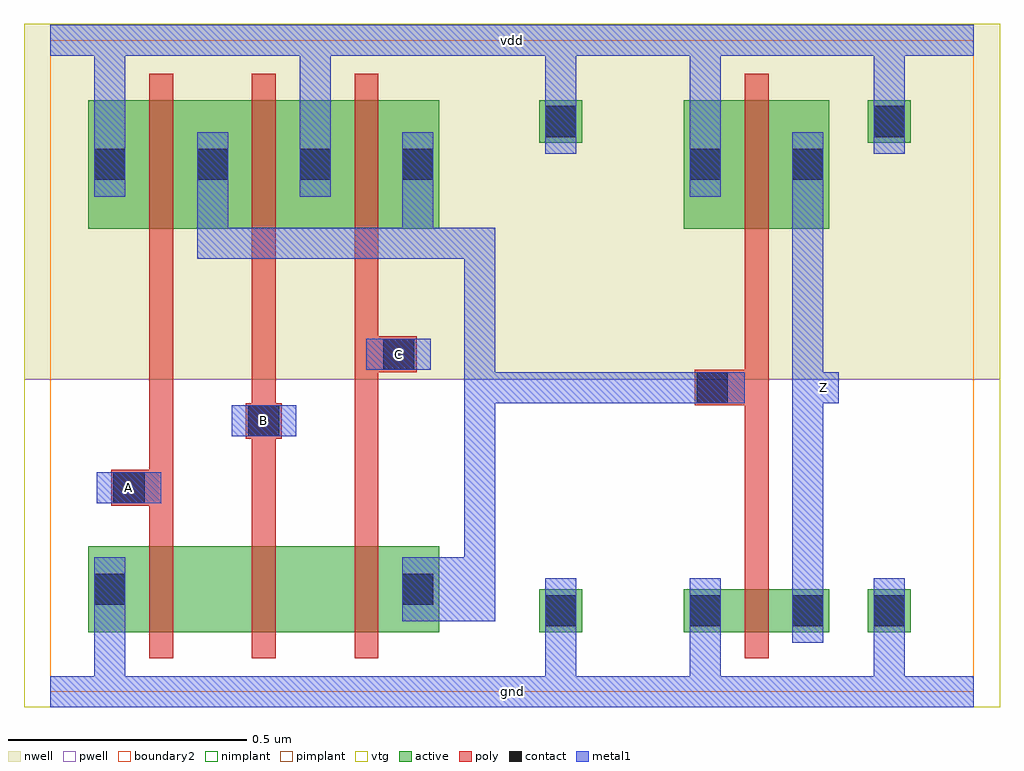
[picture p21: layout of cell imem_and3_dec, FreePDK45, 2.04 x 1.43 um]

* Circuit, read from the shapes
.subckt imem_and3_dec A B C Z gnd vdd
M1 imem_pnand3_0/imem_nmos_m1_w0_180_sm1_dactive_3/D A gnd gnd nfet w=0.18u l=0.05u
M2 imem_pnand3_0/imem_nmos_m1_w0_180_sactive_dactive_4/D B imem_pnand3_0/imem_nmos_m1_w0_180_sm1_dactive_3/D gnd nfet w=0.18u l=0.05u
M3 imem_pinv_1/A C imem_pnand3_0/imem_nmos_m1_w0_180_sactive_dactive_4/D gnd nfet w=0.18u l=0.05u
M4 Z imem_pinv_1/A gnd gnd nfet w=0.09u l=0.05u
M5 imem_pinv_1/A A vdd vdd pfet w=0.27u l=0.05u
M6 vdd B imem_pinv_1/A vdd pfet w=0.27u l=0.05u
M7 imem_pinv_1/A C vdd vdd pfet w=0.27u l=0.05u
M8 Z imem_pinv_1/A vdd vdd pfet w=0.27u l=0.05u
.ends

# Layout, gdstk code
import gdstk
lib = gdstk.Library(unit=1e-6, precision=5e-10)
def R(c, l, rs):  # rectangles x0, y0, x1, y1
    for r in rs: c.add(gdstk.rectangle(r[:2], r[2:], *l))
def A(c, l, x, y, w, h, nx, ny, dx, dy):  # array of equal rectangles
    R(c, l, [(x+i*dx, y+j*dy, x+i*dx+w, y+j*dy+h) for i in range(nx) for j in range(ny)])
active = (1, 0)
pwell = (2, 0)
nwell = (3, 0)
nimplant = (4, 0)
pimplant = (5, 0)
vtg = (6, 0)
poly = (9, 0)
contact = (10, 0)
metal1 = (11, 0)
boundary2 = (239, 0)

imem_contact_11 = lib.new_cell('imem_contact_11')
R(imem_contact_11, active, [(0,0.0225,0.09,0.1125)])
R(imem_contact_11, nwell, [(-0.055,-0.0325,0.145,0.1675)])
R(imem_contact_11, pimplant, [(0,0.0225,0.09,0.1125)])
R(imem_contact_11, contact, [(0.0125,0.035,0.0775,0.1)])
R(imem_contact_11, metal1, [(0.0125,0,0.0775,0.135)])
R(imem_contact_11, boundary2, [(-0.055,-0.0325,0.145,0.1675)])

imem_pmos_m1_w0_270_sm1_ = lib.new_cell('imem_pmos_m1_w0_270_sm1_dm1')
R(imem_pmos_m1_w0_270_sm1_, active, [(0,0,0.305,0.27)])
R(imem_pmos_m1_w0_270_sm1_, nwell, [(-0.08,-0.08,0.385,0.35)])
R(imem_pmos_m1_w0_270_sm1_, pimplant, [(0,0,0.305,0.27)])
R(imem_pmos_m1_w0_270_sm1_, vtg, [(-0.08,-0.08,0.385,0.35)])
R(imem_pmos_m1_w0_270_sm1_, poly, [(0.1275,-0.055,0.1775,0.325), (0.1275,-0.055,0.1775,0.325)])
R(imem_pmos_m1_w0_270_sm1_, metal1, [(0.0125,0.0675,0.0775,0.2025), (0.2275,0.0675,0.2925,0.2025)])
R(imem_pmos_m1_w0_270_sm1_, boundary2, [(-0.08,-0.08,0.385,0.35)])
imem_pmos_m1_w0_270_sm1_.add(gdstk.Reference(imem_contact_11, (0,0.0675)))
imem_pmos_m1_w0_270_sm1_.add(gdstk.Reference(imem_contact_11, (0.215,0.0675)))
imem_pmos_m1_w0_270_sm1_.add(gdstk.Label('G', (0.1525,0.135), layer=9, texttype=0))
imem_pmos_m1_w0_270_sm1_.add(gdstk.Label('S', (0.045,0.135), layer=11, texttype=0))
imem_pmos_m1_w0_270_sm1_.add(gdstk.Label('D', (0.26,0.135), layer=11, texttype=0))

imem_contact_10 = lib.new_cell('imem_contact_10')
R(imem_contact_10, active, [(0,0.0225,0.09,0.1125)])
R(imem_contact_10, pwell, [(-0.055,-0.0325,0.145,0.1675)])
R(imem_contact_10, nimplant, [(0,0.0225,0.09,0.1125)])
R(imem_contact_10, contact, [(0.0125,0.035,0.0775,0.1)])
R(imem_contact_10, metal1, [(0.0125,0,0.0775,0.135)])
R(imem_contact_10, boundary2, [(-0.055,-0.0325,0.145,0.1675)])

imem_nmos_m1_w0_180_sm1_ = lib.new_cell('imem_nmos_m1_w0_180_sm1_dactive')
R(imem_nmos_m1_w0_180_sm1_, active, [(0,0,0.305,0.18), (0.215,0.045,0.305,0.135)])
R(imem_nmos_m1_w0_180_sm1_, pwell, [(-0.08,-0.08,0.385,0.26)])
R(imem_nmos_m1_w0_180_sm1_, nimplant, [(0,0,0.305,0.18)])
R(imem_nmos_m1_w0_180_sm1_, vtg, [(-0.08,-0.08,0.385,0.26)])
R(imem_nmos_m1_w0_180_sm1_, poly, [(0.1275,-0.055,0.1775,0.235), (0.1275,-0.055,0.1775,0.235)])
R(imem_nmos_m1_w0_180_sm1_, metal1, [(0.0125,0.0225,0.0775,0.1575)])
R(imem_nmos_m1_w0_180_sm1_, boundary2, [(-0.08,-0.08,0.385,0.26)])
imem_nmos_m1_w0_180_sm1_.add(gdstk.Reference(imem_contact_10, (0,0.0225)))
imem_nmos_m1_w0_180_sm1_.add(gdstk.Label('G', (0.1525,0.09), layer=9, texttype=0))
imem_nmos_m1_w0_180_sm1_.add(gdstk.Label('S', (0.045,0.09), layer=11, texttype=0))
imem_nmos_m1_w0_180_sm1_.add(gdstk.Label('D', (0.26,0.09), layer=1, texttype=0))

imem_nmos_m1_w0_180_sact = lib.new_cell('imem_nmos_m1_w0_180_sactive_dactive')
R(imem_nmos_m1_w0_180_sact, active, [(0,0,0.305,0.18), (0,0.045,0.09,0.135), (0.215,0.045,0.305,0.135)])
R(imem_nmos_m1_w0_180_sact, pwell, [(-0.08,-0.08,0.385,0.26)])
R(imem_nmos_m1_w0_180_sact, nimplant, [(0,0,0.305,0.18)])
R(imem_nmos_m1_w0_180_sact, vtg, [(-0.08,-0.08,0.385,0.26)])
R(imem_nmos_m1_w0_180_sact, poly, [(0.1275,-0.055,0.1775,0.235), (0.1275,-0.055,0.1775,0.235)])
R(imem_nmos_m1_w0_180_sact, boundary2, [(-0.08,-0.08,0.385,0.26)])
imem_nmos_m1_w0_180_sact.add(gdstk.Label('G', (0.1525,0.09), layer=9, texttype=0))
imem_nmos_m1_w0_180_sact.add(gdstk.Label('S', (0.045,0.09), layer=1, texttype=0))
imem_nmos_m1_w0_180_sact.add(gdstk.Label('D', (0.26,0.09), layer=1, texttype=0))

c_imem_nmos_m1_w0_180_sact = lib.new_cell('imem_nmos_m1_w0_180_sactive_dm1')
R(c_imem_nmos_m1_w0_180_sact, active, [(0,0,0.305,0.18), (0,0.045,0.09,0.135)])
R(c_imem_nmos_m1_w0_180_sact, pwell, [(-0.08,-0.08,0.385,0.26)])
R(c_imem_nmos_m1_w0_180_sact, nimplant, [(0,0,0.305,0.18)])
R(c_imem_nmos_m1_w0_180_sact, vtg, [(-0.08,-0.08,0.385,0.26)])
R(c_imem_nmos_m1_w0_180_sact, poly, [(0.1275,-0.055,0.1775,0.235), (0.1275,-0.055,0.1775,0.235)])
R(c_imem_nmos_m1_w0_180_sact, metal1, [(0.2275,0.0225,0.2925,0.1575)])
R(c_imem_nmos_m1_w0_180_sact, boundary2, [(-0.08,-0.08,0.385,0.26)])
c_imem_nmos_m1_w0_180_sact.add(gdstk.Reference(imem_contact_10, (0.215,0.0225)))
c_imem_nmos_m1_w0_180_sact.add(gdstk.Label('G', (0.1525,0.09), layer=9, texttype=0))
c_imem_nmos_m1_w0_180_sact.add(gdstk.Label('S', (0.045,0.09), layer=1, texttype=0))
c_imem_nmos_m1_w0_180_sact.add(gdstk.Label('D', (0.26,0.09), layer=11, texttype=0))

imem_contact_12 = lib.new_cell('imem_contact_12')
R(imem_contact_12, active, [(0,0.0225,0.09,0.1125)])
R(imem_contact_12, nwell, [(-0.055,-0.0325,0.145,0.1675)])
R(imem_contact_12, nimplant, [(0,0.0225,0.09,0.1125)])
R(imem_contact_12, contact, [(0.0125,0.035,0.0775,0.1)])
R(imem_contact_12, metal1, [(0.0125,0,0.0775,0.135)])
R(imem_contact_12, boundary2, [(-0.055,-0.0325,0.145,0.1675)])

imem_contact_13 = lib.new_cell('imem_contact_13')
R(imem_contact_13, active, [(0,0.0225,0.09,0.1125)])
R(imem_contact_13, pwell, [(-0.055,-0.0325,0.145,0.1675)])
R(imem_contact_13, pimplant, [(0,0.0225,0.09,0.1125)])
R(imem_contact_13, contact, [(0.0125,0.035,0.0775,0.1)])
R(imem_contact_13, metal1, [(0.0125,0,0.0775,0.135)])
R(imem_contact_13, boundary2, [(-0.055,-0.0325,0.145,0.1675)])

imem_contact_14 = lib.new_cell('imem_contact_14')
R(imem_contact_14, poly, [(0.03,0,0.105,0.075)])
R(imem_contact_14, contact, [(0.035,0.005,0.1,0.07)])
R(imem_contact_14, metal1, [(0,0.005,0.135,0.07)])
R(imem_contact_14, boundary2, [(0,0,0.135,0.075)])

imem_pnand3 = lib.new_cell('imem_pnand3')
R(imem_pnand3, pwell, [(-0.055,-0.0325,1.3025,0.655)])
R(imem_pnand3, nwell, [(-0.055,0.655,1.3025,1.4)])
R(imem_pnand3, vtg, [(-0.055,-0.0325,1.3025,0.655), (-0.055,0.655,1.3025,1.4)])
A(imem_pnand3, poly, 0.2075, 0.36, 0.05, 0.555, 3, 1, 0.215, 0)
R(imem_pnand3, poly, [(0.165,0.39,0.2075,0.465), (0.4225,0.53,0.4475,0.605), (0.6375,0.67,0.73,0.745)])
R(imem_pnand3, metal1, [(0,-0.0325,1.2475,0.0325), (0.0925,-0.0325,0.1575,0.1475), (1.0375,0,1.1025,0.17), (0.77,0.1475,0.9,0.2825), (0.8675,0.1475,0.9325,0.94), (0.0975,0.395,0.2325,0.46), (0.38,0.535,0.515,0.6), (0.6625,0.675,0.7975,0.74), (0.3075,0.9075,0.3725,0.9725), (0.34,0.9075,0.9,0.9725), (0.7375,0.9075,0.8025,0.9725), (0.77,0.9075,0.9,0.9725), (0.8675,0.9075,0.9325,0.9725), (0.3075,0.94,0.3725,1.105), (0.7375,0.94,0.8025,1.105), (0.0925,1.0375,0.1575,1.3975), (0.5225,1.0375,0.5875,1.3975), (1.0375,1.195,1.1025,1.365), (0,1.3325,1.2475,1.3975)])
R(imem_pnand3, boundary2, [(0,0,1.2475,1.365), (0,0,1.2475,1.365)])
imem_pnand3.add(gdstk.Reference(imem_pmos_m1_w0_270_sm1_, (0.08,0.97)))
imem_pnand3.add(gdstk.Reference(imem_pmos_m1_w0_270_sm1_, (0.295,0.97)))
imem_pnand3.add(gdstk.Reference(imem_pmos_m1_w0_270_sm1_, (0.51,0.97)))
imem_pnand3.add(gdstk.Reference(imem_nmos_m1_w0_180_sm1_, (0.08,0.125)))
imem_pnand3.add(gdstk.Reference(imem_nmos_m1_w0_180_sact, (0.295,0.125)))
imem_pnand3.add(gdstk.Reference(c_imem_nmos_m1_w0_180_sact, (0.51,0.125)))
imem_pnand3.add(gdstk.Reference(imem_contact_12, (1.025,1.1275)))
imem_pnand3.add(gdstk.Reference(imem_contact_13, (1.025,0.1025)))
imem_pnand3.add(gdstk.Reference(imem_contact_14, (0.0975,0.39)))
imem_pnand3.add(gdstk.Reference(imem_contact_14, (0.38,0.53)))
imem_pnand3.add(gdstk.Reference(imem_contact_14, (0.6625,0.67)))
imem_pnand3.add(gdstk.Label('A', (0.165,0.4275), layer=11, texttype=0))
imem_pnand3.add(gdstk.Label('B', (0.4475,0.5675), layer=11, texttype=0))
imem_pnand3.add(gdstk.Label('C', (0.73,0.7075), layer=11, texttype=0))
imem_pnand3.add(gdstk.Label('Z', (0.9,0.94), layer=11, texttype=0))
imem_pnand3.add(gdstk.Label('gnd', (0.624,0), layer=11, texttype=0))
imem_pnand3.add(gdstk.Label('vdd', (0.624,1.365), layer=11, texttype=0))

c_imem_pmos_m1_w0_270_sm1_ = lib.new_cell('imem_pmos_m1_w0_270_sm1_dm1_da_p')
R(c_imem_pmos_m1_w0_270_sm1_, active, [(0,0,0.305,0.27)])
R(c_imem_pmos_m1_w0_270_sm1_, nwell, [(-0.08,-0.08,0.385,0.35)])
R(c_imem_pmos_m1_w0_270_sm1_, pimplant, [(0,0,0.305,0.27)])
R(c_imem_pmos_m1_w0_270_sm1_, vtg, [(-0.08,-0.08,0.385,0.35)])
R(c_imem_pmos_m1_w0_270_sm1_, poly, [(0.1275,-0.055,0.1775,0.325), (0.1275,-0.055,0.1775,0.325)])
R(c_imem_pmos_m1_w0_270_sm1_, metal1, [(0.0125,0.0675,0.0775,0.2025), (0.2275,0.0675,0.2925,0.2025)])
R(c_imem_pmos_m1_w0_270_sm1_, boundary2, [(-0.08,-0.08,0.385,0.35)])
c_imem_pmos_m1_w0_270_sm1_.add(gdstk.Reference(imem_contact_11, (0,0.0675)))
c_imem_pmos_m1_w0_270_sm1_.add(gdstk.Reference(imem_contact_11, (0.215,0.0675)))
c_imem_pmos_m1_w0_270_sm1_.add(gdstk.Label('G', (0.1525,0.135), layer=9, texttype=0))
c_imem_pmos_m1_w0_270_sm1_.add(gdstk.Label('S', (0.045,0.135), layer=11, texttype=0))
c_imem_pmos_m1_w0_270_sm1_.add(gdstk.Label('D', (0.26,0.135), layer=11, texttype=0))

imem_nmos_m1_w0_090_sm1_ = lib.new_cell('imem_nmos_m1_w0_090_sm1_dm1_da_p')
R(imem_nmos_m1_w0_090_sm1_, active, [(0,0,0.305,0.09)])
R(imem_nmos_m1_w0_090_sm1_, pwell, [(-0.08,-0.08,0.385,0.17)])
R(imem_nmos_m1_w0_090_sm1_, nimplant, [(0,0,0.305,0.09)])
R(imem_nmos_m1_w0_090_sm1_, vtg, [(-0.08,-0.08,0.385,0.17)])
R(imem_nmos_m1_w0_090_sm1_, poly, [(0.1275,-0.055,0.1775,0.145), (0.1275,-0.055,0.1775,0.145)])
R(imem_nmos_m1_w0_090_sm1_, metal1, [(0.0125,-0.0225,0.0775,0.1125), (0.2275,-0.0225,0.2925,0.1125)])
R(imem_nmos_m1_w0_090_sm1_, boundary2, [(-0.08,-0.08,0.385,0.17)])
imem_nmos_m1_w0_090_sm1_.add(gdstk.Reference(imem_contact_10, (0,-0.0225)))
imem_nmos_m1_w0_090_sm1_.add(gdstk.Reference(imem_contact_10, (0.215,-0.0225)))
imem_nmos_m1_w0_090_sm1_.add(gdstk.Label('G', (0.1525,0.045), layer=9, texttype=0))
imem_nmos_m1_w0_090_sm1_.add(gdstk.Label('S', (0.045,0.045), layer=11, texttype=0))
imem_nmos_m1_w0_090_sm1_.add(gdstk.Label('D', (0.26,0.045), layer=11, texttype=0))

imem_pinv = lib.new_cell('imem_pinv')
R(imem_pinv, pwell, [(-0.055,-0.0325,0.7425,0.655)])
R(imem_pinv, nwell, [(-0.055,0.655,0.7425,1.4)])
R(imem_pinv, vtg, [(-0.055,-0.0325,0.7425,0.655), (-0.055,0.655,0.7425,1.4)])
R(imem_pinv, poly, [(0.2075,0.27,0.2575,0.915), (0.14,0.6,0.2075,0.675)])
R(imem_pinv, metal1, [(0,-0.0325,0.6875,0.0325), (0.0925,-0.0325,0.1575,0.1025), (0.4775,0,0.5425,0.17), (0.3075,0.1025,0.3725,1.1725), (0.0725,0.605,0.2075,0.67), (0.34,0.605,0.405,0.67), (0.0925,1.0375,0.1575,1.3975), (0.4775,1.195,0.5425,1.365), (0,1.3325,0.6875,1.3975)])
R(imem_pinv, boundary2, [(0,0,0.6875,1.365), (0,0,0.6875,1.365)])
imem_pinv.add(gdstk.Reference(c_imem_pmos_m1_w0_270_sm1_, (0.08,0.97)))
imem_pinv.add(gdstk.Reference(imem_nmos_m1_w0_090_sm1_, (0.08,0.125)))
imem_pinv.add(gdstk.Reference(imem_contact_12, (0.465,1.1275)))
imem_pinv.add(gdstk.Reference(imem_contact_13, (0.465,0.1025)))
imem_pinv.add(gdstk.Reference(imem_contact_14, (0.0725,0.6)))
imem_pinv.add(gdstk.Label('A', (0.14,0.6375), layer=11, texttype=0))
imem_pinv.add(gdstk.Label('Z', (0.3725,0.6375), layer=11, texttype=0))
imem_pinv.add(gdstk.Label('gnd', (0.344,0), layer=11, texttype=0))
imem_pinv.add(gdstk.Label('vdd', (0.344,1.365), layer=11, texttype=0))

imem_and3_dec = lib.new_cell('imem_and3_dec')
R(imem_and3_dec, metal1, [(0,-0.0325,1.935,0.0325), (0.0975,0.395,0.2325,0.46), (0.38,0.535,0.515,0.6), (0.8675,0.605,0.9325,0.67), (0.9,0.605,1.3875,0.67), (1.5875,0.605,1.6525,0.67), (0.8675,0.6375,0.9325,0.94), (0.6625,0.675,0.7975,0.74), (0,1.3325,1.935,1.3975)])
R(imem_and3_dec, boundary2, [(0,0,1.935,1.365)])
imem_and3_dec.add(gdstk.Reference(imem_pnand3, (0,0)))
imem_and3_dec.add(gdstk.Reference(imem_pinv, (1.2475,0)))
imem_and3_dec.add(gdstk.Label('Z', (1.62,0.6375), layer=11, texttype=0))
imem_and3_dec.add(gdstk.Label('A', (0.165,0.4275), layer=11, texttype=0))
imem_and3_dec.add(gdstk.Label('B', (0.4475,0.5675), layer=11, texttype=0))
imem_and3_dec.add(gdstk.Label('C', (0.73,0.7075), layer=11, texttype=0))
imem_and3_dec.add(gdstk.Label('gnd', (0.9675,0), layer=11, texttype=0))
imem_and3_dec.add(gdstk.Label('vdd', (0.9675,1.365), layer=11, texttype=0))

lib.write_gds('imem_and3_dec.gds')
